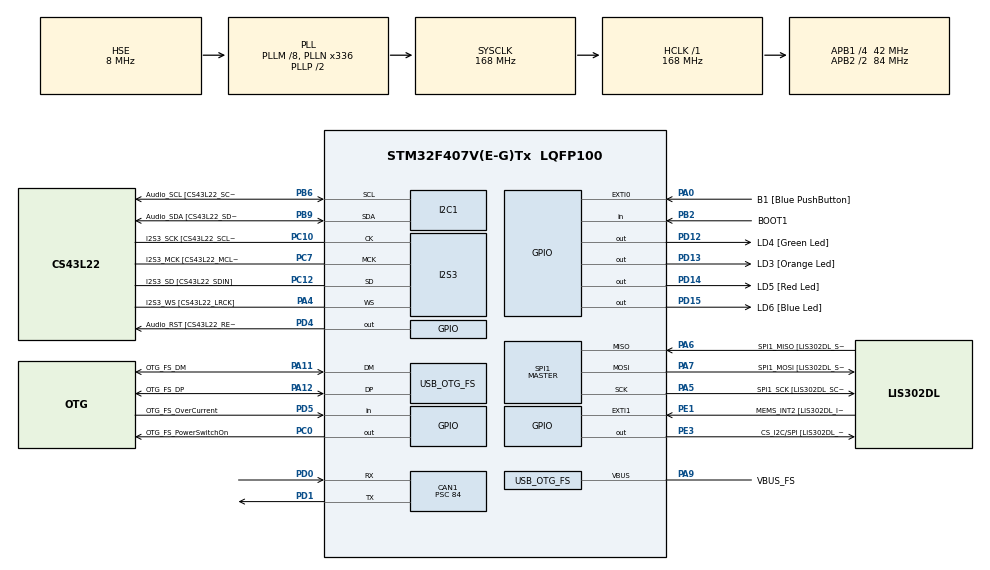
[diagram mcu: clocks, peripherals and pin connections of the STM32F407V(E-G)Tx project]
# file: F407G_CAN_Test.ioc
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CAN1.BS1=CAN_BS1_16TQ
CAN1.BS2=CAN_BS2_8TQ
CAN1.CalculateBaudRate=20000
CAN1.CalculateTimeBit=50000.00
CAN1.CalculateTimeQuantum=2000.0
CAN1.Mode=CAN_MODE_NORMAL
CAN1.Prescaler=84
I2S3.AudioFreq-Half_Duplex_Master=I2S_AUDIOFREQ_96K
I2S3.ErrorAudioFreq=-2.34 %
I2S3.ErrorAudioFreq-Half_Duplex_Master=0.8 %
I2S3.FullDuplexMode=I2S_FULLDUPLEXMODE_DISABLE
I2S3.Instance=SPI$Index
I2S3.RealAudioFreq=93.75 KHz
I2S3.RealAudioFreq-Half_Duplex_Master=96.774 KHz
I2S3.VirtualMode=I2S_MODE_MASTER
Mcu.Family=STM32F4
Mcu.Name=STM32F407V(E-G)Tx
Mcu.Package=LQFP100
NVIC.CAN1_RX0_IRQn=true\:0\:0\:false\:false\:true\:true\:true
NVIC.OTG_FS_IRQn=true\:0\:0\:false\:false\:true\:true\:true
NVIC.PriorityGroup=NVIC_PRIORITYGROUP_0
PA0-WKUP.GPIO_Label=B1 [Blue PushButton]
PA0-WKUP.GPIO_ModeDefaultEXTI=GPIO_MODE_EVT_RISING
PA0-WKUP.GPIO_PuPd=GPIO_NOPULL
PA0-WKUP.Signal=GPXTI0
PA10.GPIO_Label=OTG_FS_ID
PA10.GPIO_Mode=GPIO_MODE_AF_PP
PA10.GPIO_PuPd=GPIO_NOPULL
PA10.GPIO_Speed=GPIO_SPEED_FREQ_LOW
PA10.Signal=USB_OTG_FS_ID
PA11.GPIO_Label=OTG_FS_DM
PA11.GPIO_Mode=GPIO_MODE_AF_PP
PA11.GPIO_PuPd=GPIO_NOPULL
PA11.GPIO_Speed=GPIO_SPEED_FREQ_LOW
PA11.Mode=Host_Only
PA11.Signal=USB_OTG_FS_DM
PA12.GPIO_Label=OTG_FS_DP
PA12.GPIO_Mode=GPIO_MODE_AF_PP
PA12.GPIO_PuPd=GPIO_NOPULL
PA12.GPIO_Speed=GPIO_SPEED_FREQ_LOW
PA12.Mode=Host_Only
PA12.Signal=USB_OTG_FS_DP
PA13.GPIO_Label=SWDIO
PA13.Mode=Serial_Wire
PA13.Signal=SYS_JTMS-SWDIO
PA14.GPIO_Label=SWCLK
PA14.Mode=Serial_Wire
PA14.Signal=SYS_JTCK-SWCLK
PA4.GPIO_Label=I2S3_WS [CS43L22_LRCK]
PA4.GPIO_Mode=GPIO_MODE_AF_PP
PA4.GPIO_PuPd=GPIO_NOPULL
PA4.GPIO_Speed=GPIO_SPEED_FREQ_LOW
PA4.Mode=Half_Duplex_Master
PA4.Signal=I2S3_WS
PA5.GPIO_Label=SPI1_SCK [LIS302DL_SCL/SPC]
PA5.GPIO_Mode=GPIO_MODE_AF_PP
PA5.GPIO_PuPd=GPIO_NOPULL
PA5.GPIO_Speed=GPIO_SPEED_FREQ_LOW
PA5.Mode=Full_Duplex_Master
PA5.Signal=SPI1_SCK
PA6.GPIO_Label=SPI1_MISO [LIS302DL_SDO]
PA6.GPIO_Mode=GPIO_MODE_AF_PP
PA6.GPIO_PuPd=GPIO_NOPULL
PA6.GPIO_Speed=GPIO_SPEED_FREQ_LOW
PA6.Mode=Full_Duplex_Master
PA6.Signal=SPI1_MISO
PA7.GPIO_Label=SPI1_MOSI [LIS302DL_SDA/SDI/SDO]
PA7.GPIO_Mode=GPIO_MODE_AF_PP
PA7.GPIO_PuPd=GPIO_NOPULL
PA7.GPIO_Speed=GPIO_SPEED_FREQ_LOW
PA7.Mode=Full_Duplex_Master
PA7.Signal=SPI1_MOSI
PA9.GPIO_Label=VBUS_FS
PA9.GPIO_Mode=GPIO_MODE_INPUT
PA9.GPIO_PuPd=GPIO_NOPULL
PA9.Mode=Activate_VBUS
PA9.Signal=USB_OTG_FS_VBUS
PB10.GPIO_Label=CLK_IN [MP45DT02_CLK]
PB10.GPIO_Mode=GPIO_MODE_AF_PP
PB10.GPIO_PuPd=GPIO_NOPULL
PB10.GPIO_Speed=GPIO_SPEED_FREQ_LOW
PB10.Signal=I2S2_CK
PB2.GPIO_Label=BOOT1
PB2.GPIO_Mode=GPIO_MODE_INPUT
PB2.GPIO_PuPd=GPIO_NOPULL
PB2.Signal=GPIO_Input
PB3.GPIO_Label=SWO
PB3.Signal=SYS_JTDO-SWO
PB6.GPIO_Label=Audio_SCL [CS43L22_SCL]
PB6.GPIO_Mode=GPIO_MODE_AF_OD
PB6.GPIO_Pu=GPIO_PULLUP
PB6.GPIO_PuPd=GPIO_NOPULL
PB6.GPIO_Speed=GPIO_SPEED_FREQ_LOW
PB6.Mode=I2C
PB6.Signal=I2C1_SCL
PB9.GPIO_Label=Audio_SDA [CS43L22_SDA]
PB9.GPIO_Mode=GPIO_MODE_AF_OD
PB9.GPIO_Pu=GPIO_PULLUP
PB9.GPIO_PuPd=GPIO_NOPULL
PB9.GPIO_Speed=GPIO_SPEED_FREQ_LOW
PB9.Mode=I2C
PB9.Signal=I2C1_SDA
PC0.GPIO_Label=OTG_FS_PowerSwitchOn
PC0.GPIO_PuPd=GPIO_NOPULL
PC0.GPIO_Speed=GPIO_SPEED_FREQ_LOW
PC0.PinState=GPIO_PIN_SET
PC0.Signal=GPIO_Output
PC10.GPIO_Label=I2S3_SCK [CS43L22_SCLK]
PC10.GPIO_Mode=GPIO_MODE_AF_PP
PC10.GPIO_PuPd=GPIO_NOPULL
PC10.GPIO_Speed=GPIO_SPEED_FREQ_LOW
PC10.Mode=Half_Duplex_Master
PC10.Signal=I2S3_CK
PC12.GPIO_Label=I2S3_SD [CS43L22_SDIN]
PC12.GPIO_Mode=GPIO_MODE_AF_PP
PC12.GPIO_PuPd=GPIO_NOPULL
PC12.GPIO_Speed=GPIO_SPEED_FREQ_LOW
PC12.Mode=Half_Duplex_Master
PC12.Signal=I2S3_SD
PC14-OSC32_IN.GPIO_Label=PC14-OSC32_IN
PC14-OSC32_IN.Mode=LSE-External-Oscillator
PC14-OSC32_IN.Signal=RCC_OSC32_IN
PC15-OSC32_OUT.GPIO_Label=PC15-OSC32_OUT
PC15-OSC32_OUT.Mode=LSE-External-Oscillator
PC15-OSC32_OUT.Signal=RCC_OSC32_OUT
PC3.GPIO_Label=PDM_OUT [MP45DT02_DOUT]
PC3.GPIO_Mode=GPIO_MODE_AF_PP
PC3.GPIO_PuPd=GPIO_NOPULL
PC3.GPIO_Speed=GPIO_SPEED_FREQ_LOW
PC3.Signal=I2S2_SD
PC7.GPIO_Label=I2S3_MCK [CS43L22_MCLK]
PC7.GPIO_Mode=GPIO_MODE_AF_PP
PC7.GPIO_PuPd=GPIO_NOPULL
PC7.GPIO_Speed=GPIO_SPEED_FREQ_LOW
PC7.Mode=Master_Clock_Activated
PC7.Signal=I2S3_MCK
PD0.Mode=CAN_Activate
PD0.Signal=CAN1_RX
PD1.Mode=CAN_Activate
PD1.Signal=CAN1_TX
PD12.GPIO_Label=LD4 [Green Led]
PD12.GPIO_PuPd=GPIO_NOPULL
PD12.GPIO_Speed=GPIO_SPEED_FREQ_LOW
PD12.Signal=GPIO_Output
PD13.GPIO_Label=LD3 [Orange Led]
PD13.GPIO_PuPd=GPIO_NOPULL
PD13.GPIO_Speed=GPIO_SPEED_FREQ_LOW
PD13.Signal=GPIO_Output
PD14.GPIO_Label=LD5 [Red Led]
PD14.GPIO_PuPd=GPIO_NOPULL
PD14.GPIO_Speed=GPIO_SPEED_FREQ_LOW
PD14.Signal=GPIO_Output
PD15.GPIO_Label=LD6 [Blue Led]
PD15.GPIO_PuPd=GPIO_NOPULL
PD15.GPIO_Speed=GPIO_SPEED_FREQ_LOW
PD15.Signal=GPIO_Output
PD4.GPIO_Label=Audio_RST [CS43L22_RESET]
PD4.GPIO_PuPd=GPIO_NOPULL
PD4.GPIO_Speed=GPIO_SPEED_FREQ_LOW
PD4.Signal=GPIO_Output
PD5.GPIO_Label=OTG_FS_OverCurrent
PD5.GPIO_Mode=GPIO_MODE_INPUT
PD5.GPIO_PuPd=GPIO_NOPULL
PD5.Signal=GPIO_Input
PE1.GPIO_Label=MEMS_INT2 [LIS302DL_INT2]
PE1.GPIO_ModeDefaultEXTI=GPIO_MODE_EVT_RISING
PE1.GPIO_PuPd=GPIO_NOPULL
PE1.Signal=GPXTI1
PE3.GPIO_Label=CS_I2C/SPI [LIS302DL_CS_I2C/SPI]
PE3.GPIO_PuPd=GPIO_NOPULL
PE3.GPIO_Speed=GPIO_SPEED_FREQ_LOW
PE3.Signal=GPIO_Output
PH0-OSC_IN.GPIO_Label=PH0-OSC_IN
PH0-OSC_IN.Mode=HSE-External-Oscillator
PH0-OSC_IN.Signal=RCC_OSC_IN
PH1-OSC_OUT.GPIO_Label=PH1-OSC_OUT
PH1-OSC_OUT.Mode=HSE-External-Oscillator
PH1-OSC_OUT.Signal=RCC_OSC_OUT
ProjectManager.HeapSize=0x200
ProjectManager.StackSize=0x400
ProjectManager.TargetToolchain=STM32CubeIDE
RCC.48MHZClocksFreq_Value=48000000
RCC.AHBFreq_Value=168000000
RCC.APB1CLKDivider=RCC_HCLK_DIV4
RCC.APB1Freq_Value=42000000
RCC.APB1TimFreq_Value=84000000
RCC.APB2CLKDivider=RCC_HCLK_DIV2
RCC.APB2Freq_Value=84000000
RCC.APB2TimFreq_Value=168000000
RCC.CortexFreq_Value=168000000
RCC.HCLKFreq_Value=168000000
RCC.HSE_VALUE=8000000
RCC.HSI_VALUE=16000000
RCC.PLLM=8
RCC.PLLN=336
RCC.PLLQ=7
RCC.SYSCLKFreq_VALUE=168000000
RCC.SYSCLKSource=RCC_SYSCLKSOURCE_PLLCLK
RCC.VCOOutputFreq_Value=336000000
SPI1.BaudRatePrescaler-Full_Duplex_Master=SPI_BAUDRATEPRESCALER_2
SPI1.CalculateBaudRate-Full_Duplex_Master=42.0 MBits/s
SPI1.Direction=SPI_DIRECTION_2LINES
SPI1.Mode=SPI_MODE_MASTER
SPI1.Mode-Full_Duplex_Master=SPI_MODE_MASTER
SPI1.VirtualType=VM_MASTER
USB_HOST.BSP.number=1
USB_HOST.USBH_HandleTypeDef-CDC_FS=hUsbHostFS
USB_HOST.VirtualModeFS=Cdc
USB_HOST0.BSP.STBoard=false
USB_HOST0.BSP.api=Unknown
USB_HOST0.BSP.i2caddr=0
USB_HOST0.BSP.i2creg=0
USB_HOST0.BSP.instance=PC0
USB_HOST0.BSP.ip=GPIO
USB_HOST0.BSP.mode=Output
USB_HOST0.BSP.name=Drive_VBUS_FS
USB_HOST0.BSP.solution=PC0
USB_OTG_FS.VirtualMode=Host_Only
USB_OTG_FS.phy_itface=HCD_PHY_EMBEDDED
VP_USB_HOST_VS_USB_HOST_CDC_FS.Mode=CDC_FS
board=STM32F407G-DISC1

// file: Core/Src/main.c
/* USER CODE BEGIN Header */
/**
  ******************************************************************************
  * @file           : main.c
  * @brief          : Main program body
  ******************************************************************************
  * @attention
  *
  * <h2><center>&copy; Copyright (c) 2022 STMicroelectronics.
  * All rights reserved.</center></h2>
  *
  * This software component is licensed by ST under Ultimate Liberty license
  * SLA0044, the "License"; You may not use this file except in compliance with
  * the License. You may obtain a copy of the License at:
  *                             www.st.com/SLA0044
  *
  ******************************************************************************
  */
/* USER CODE END Header */
#include "main.h"
#include "usb_host.h"
#include <stdio.h>
#include <string.h>

CAN_HandleTypeDef hcan1;

I2C_HandleTypeDef hi2c1;

I2S_HandleTypeDef hi2s3;

SPI_HandleTypeDef hspi1;

void SystemClock_Config(void);
static void MX_GPIO_Init(void);
static void MX_I2C1_Init(void);
static void MX_I2S3_Init(void);
static void MX_SPI1_Init(void);
static void MX_CAN1_Init(void);
void MX_USB_HOST_Process(void);

/* USER CODE BEGIN 0 */
CAN_TxHeaderTypeDef TxHeader; //tx header
CAN_RxHeaderTypeDef RxHeader; //rx header

uint32_t canMailbox; //mailbox holder

uint8_t TxData[8];  //tx bufer
uint8_t RxData[8];  //rx buffer
uint8_t dataBuffer[10][8]; //data buffer
uint8_t faultBuffer[10][8];

uint8_t count = 0;
uint8_t faultBufferCount = 0;
uint8_t dataSize = 8;

void HAL_CAN_RxFifo0MsgPendingCallback(CAN_HandleTypeDef *hcan)
{
	HAL_CAN_GetRxMessage(hcan, CAN_RX_FIFO0, &RxHeader, RxData);

	if(count == 10)
	{
		count = 0;
	}
	if(faultBufferCount == 10)
	{
		faultBufferCount = 0;
	}
	if(RxHeader.StdId >= 0x105)
	{
		memcpy(dataBuffer[count], &RxData, dataSize);
		count++;
	}
	else
	{
		memcpy(faultBuffer[faultBufferCount], &RxData, dataSize);
		faultBufferCount++;
	}

	//printf("%s\n", RxData);
}

int _write(int32_t file, uint8_t *ptr, int32_t len)
{
	int i=0;
	for(i=0 ; i<len ; i++)
	ITM_SendChar((*ptr++));
	return len;
}

/* USER CODE END 0 */

int main(void)
{

  /* MCU Configuration--------------------------------------------------------*/

  /* Reset of all peripherals, Initializes the Flash interface and the Systick. */
  HAL_Init();

  /* Configure the system clock */
  SystemClock_Config();

  /* Initialize all configured peripherals */
  MX_GPIO_Init();
  MX_I2C1_Init();
  MX_I2S3_Init();
  MX_SPI1_Init();
  MX_USB_HOST_Init();
  MX_CAN1_Init();
  /* USER CODE BEGIN 2 */
  HAL_CAN_Start(&hcan1);
  //inilitlize callback function
  HAL_CAN_ActivateNotification(&hcan1, CAN_IT_RX_FIFO0_MSG_PENDING);

  TxHeader.DLC = 8; //message size of two bytes
  TxHeader.ExtId = 0;
  TxHeader.IDE = CAN_ID_STD; //use standard ID formats
  TxHeader.RTR = CAN_RTR_DATA; //data type for transmit frame
  TxHeader.StdId = 0x113; //ID of the transmitter
  TxHeader.TransmitGlobalTime = DISABLE;

  TxData[0] = 0xf3;
  TxData[1] = 69;
  TxData[2] = 420;
  TxData[3] = 'c';
  TxData[4] = 'y';
  TxData[5] = 'a';
  TxData[6] = 'k';
  TxData[7] = '\n';

  int printCount = 0;
  int faultPrintCount = 0;
//  HAL_CAN_AddTxMessage(&hcan1, &TxHeader, TxData, &canMailbox);
  /* USER CODE END 2 */

  /* Infinite loop */
  /* USER CODE BEGIN WHILE */
  while (1)
  {
//	  HAL_CAN_AddTxMessage(&hcan1, &TxHeader, TxData, &canMailbox);
//	  HAL_Delay(2000);
	if(printCount == 10)
	{
		printCount = 0;
	}
	if(faultPrintCount == 10)
	{
		faultPrintCount = 0;
	}
	if(printCount != count)
	{
		printf("%s\n", dataBuffer[printCount]);
		printCount++;
	}
	if(faultPrintCount != faultBufferCount)
	{
		printf("Fault on fuse: %hu\n", faultBuffer[0]);
		faultPrintCount++;
	}
    /* USER CODE END WHILE */
    MX_USB_HOST_Process();

  }
}

void SystemClock_Config(void)
{
  RCC_OscInitTypeDef RCC_OscInitStruct = {0};
  RCC_ClkInitTypeDef RCC_ClkInitStruct = {0};

  /** Configure the main internal regulator output voltage
  */
  __HAL_RCC_PWR_CLK_ENABLE();
  __HAL_PWR_VOLTAGESCALING_CONFIG(PWR_REGULATOR_VOLTAGE_SCALE1);
  /** Initializes the RCC Oscillators according to the specified parameters
  * in the RCC_OscInitTypeDef structure.
  */
  RCC_OscInitStruct.OscillatorType = RCC_OSCILLATORTYPE_HSE;
  RCC_OscInitStruct.HSEState = RCC_HSE_ON;
  RCC_OscInitStruct.PLL.PLLState = RCC_PLL_ON;
  RCC_OscInitStruct.PLL.PLLSource = RCC_PLLSOURCE_HSE;
  RCC_OscInitStruct.PLL.PLLM = 8;
  RCC_OscInitStruct.PLL.PLLN = 336;
  RCC_OscInitStruct.PLL.PLLP = RCC_PLLP_DIV2;
  RCC_OscInitStruct.PLL.PLLQ = 7;
  if (HAL_RCC_OscConfig(&RCC_OscInitStruct) != HAL_OK)
  {
    Error_Handler();
  }
  /** Initializes the CPU, AHB and APB buses clocks
  */
  RCC_ClkInitStruct.ClockType = RCC_CLOCKTYPE_HCLK|RCC_CLOCKTYPE_SYSCLK
                              |RCC_CLOCKTYPE_PCLK1|RCC_CLOCKTYPE_PCLK2;
  RCC_ClkInitStruct.SYSCLKSource = RCC_SYSCLKSOURCE_PLLCLK;
  RCC_ClkInitStruct.AHBCLKDivider = RCC_SYSCLK_DIV1;
  RCC_ClkInitStruct.APB1CLKDivider = RCC_HCLK_DIV4;
  RCC_ClkInitStruct.APB2CLKDivider = RCC_HCLK_DIV2;

  if (HAL_RCC_ClockConfig(&RCC_ClkInitStruct, FLASH_LATENCY_5) != HAL_OK)
  {
    Error_Handler();
  }
}

static void MX_CAN1_Init(void)
{

  hcan1.Instance = CAN1;
  hcan1.Init.Prescaler = 84;
  hcan1.Init.Mode = CAN_MODE_NORMAL;
  hcan1.Init.SyncJumpWidth = CAN_SJW_1TQ;
  hcan1.Init.TimeSeg1 = CAN_BS1_16TQ;
  hcan1.Init.TimeSeg2 = CAN_BS2_8TQ;
  hcan1.Init.TimeTriggeredMode = DISABLE;
  hcan1.Init.AutoBusOff = DISABLE;
  hcan1.Init.AutoWakeUp = DISABLE;
  hcan1.Init.AutoRetransmission = DISABLE;
  hcan1.Init.ReceiveFifoLocked = DISABLE;
  hcan1.Init.TransmitFifoPriority = DISABLE;
  if (HAL_CAN_Init(&hcan1) != HAL_OK)
  {
    Error_Handler();
  }
  /* USER CODE BEGIN CAN1_Init 2 */
  CAN_FilterTypeDef canFilterConfig;  //can filter config
  canFilterConfig.FilterActivation = CAN_FILTER_ENABLE;
  canFilterConfig.FilterBank = 10;
  canFilterConfig.FilterFIFOAssignment = CAN_FILTER_FIFO0;
  canFilterConfig.FilterIdHigh = 0;
  canFilterConfig.FilterIdLow = 0x00000;
  canFilterConfig.FilterMaskIdHigh = 0;
  canFilterConfig.FilterMaskIdLow = 0x0000;
  canFilterConfig.FilterMode = CAN_FILTERMODE_IDMASK;
  canFilterConfig.FilterScale = CAN_FILTERSCALE_32BIT;
  canFilterConfig.SlaveStartFilterBank = 0;
  //Configuring CAN filter for CAN1
  HAL_CAN_ConfigFilter(&hcan1, &canFilterConfig);
  /* USER CODE END CAN1_Init 2 */

}

static void MX_I2C1_Init(void)
{

  hi2c1.Instance = I2C1;
  hi2c1.Init.ClockSpeed = 100000;
  hi2c1.Init.DutyCycle = I2C_DUTYCYCLE_2;
  hi2c1.Init.OwnAddress1 = 0;
  hi2c1.Init.AddressingMode = I2C_ADDRESSINGMODE_7BIT;
  hi2c1.Init.DualAddressMode = I2C_DUALADDRESS_DISABLE;
  hi2c1.Init.OwnAddress2 = 0;
  hi2c1.Init.GeneralCallMode = I2C_GENERALCALL_DISABLE;
  hi2c1.Init.NoStretchMode = I2C_NOSTRETCH_DISABLE;
  if (HAL_I2C_Init(&hi2c1) != HAL_OK)
  {
    Error_Handler();
  }

}

static void MX_I2S3_Init(void)
{

  hi2s3.Instance = SPI3;
  hi2s3.Init.Mode = I2S_MODE_MASTER_TX;
  hi2s3.Init.Standard = I2S_STANDARD_PHILIPS;
  hi2s3.Init.DataFormat = I2S_DATAFORMAT_16B;
  hi2s3.Init.MCLKOutput = I2S_MCLKOUTPUT_ENABLE;
  hi2s3.Init.AudioFreq = I2S_AUDIOFREQ_96K;
  hi2s3.Init.CPOL = I2S_CPOL_LOW;
  hi2s3.Init.ClockSource = I2S_CLOCK_PLL;
  hi2s3.Init.FullDuplexMode = I2S_FULLDUPLEXMODE_DISABLE;
  if (HAL_I2S_Init(&hi2s3) != HAL_OK)
  {
    Error_Handler();
  }

}

static void MX_SPI1_Init(void)
{

  /* SPI1 parameter configuration*/
  hspi1.Instance = SPI1;
  hspi1.Init.Mode = SPI_MODE_MASTER;
  hspi1.Init.Direction = SPI_DIRECTION_2LINES;
  hspi1.Init.DataSize = SPI_DATASIZE_8BIT;
  hspi1.Init.CLKPolarity = SPI_POLARITY_LOW;
  hspi1.Init.CLKPhase = SPI_PHASE_1EDGE;
  hspi1.Init.NSS = SPI_NSS_SOFT;
  hspi1.Init.BaudRatePrescaler = SPI_BAUDRATEPRESCALER_2;
  hspi1.Init.FirstBit = SPI_FIRSTBIT_MSB;
  hspi1.Init.TIMode = SPI_TIMODE_DISABLE;
  hspi1.Init.CRCCalculation = SPI_CRCCALCULATION_DISABLE;
  hspi1.Init.CRCPolynomial = 10;
  if (HAL_SPI_Init(&hspi1) != HAL_OK)
  {
    Error_Handler();
  }

}

static void MX_GPIO_Init(void)
{
  GPIO_InitTypeDef GPIO_InitStruct = {0};

  /* GPIO Ports Clock Enable */
  __HAL_RCC_GPIOE_CLK_ENABLE();
  __HAL_RCC_GPIOC_CLK_ENABLE();
  __HAL_RCC_GPIOH_CLK_ENABLE();
  __HAL_RCC_GPIOA_CLK_ENABLE();
  __HAL_RCC_GPIOB_CLK_ENABLE();
  __HAL_RCC_GPIOD_CLK_ENABLE();

  /*Configure GPIO pin Output Level */
  HAL_GPIO_WritePin(CS_I2C_SPI_GPIO_Port, CS_I2C_SPI_Pin, GPIO_PIN_RESET);

  /*Configure GPIO pin Output Level */
  HAL_GPIO_WritePin(OTG_FS_PowerSwitchOn_GPIO_Port, OTG_FS_PowerSwitchOn_Pin, GPIO_PIN_SET);

  /*Configure GPIO pin Output Level */
  HAL_GPIO_WritePin(GPIOD, LD4_Pin|LD3_Pin|LD5_Pin|LD6_Pin
                          |Audio_RST_Pin, GPIO_PIN_RESET);

  /*Configure GPIO pin : CS_I2C_SPI_Pin */
  GPIO_InitStruct.Pin = CS_I2C_SPI_Pin;
  GPIO_InitStruct.Mode = GPIO_MODE_OUTPUT_PP;
  GPIO_InitStruct.Pull = GPIO_NOPULL;
  GPIO_InitStruct.Speed = GPIO_SPEED_FREQ_LOW;
  HAL_GPIO_Init(CS_I2C_SPI_GPIO_Port, &GPIO_InitStruct);

  /*Configure GPIO pin : OTG_FS_PowerSwitchOn_Pin */
  GPIO_InitStruct.Pin = OTG_FS_PowerSwitchOn_Pin;
  GPIO_InitStruct.Mode = GPIO_MODE_OUTPUT_PP;
  GPIO_InitStruct.Pull = GPIO_NOPULL;
  GPIO_InitStruct.Speed = GPIO_SPEED_FREQ_LOW;
  HAL_GPIO_Init(OTG_FS_PowerSwitchOn_GPIO_Port, &GPIO_InitStruct);

  /*Configure GPIO pin : PDM_OUT_Pin */
  GPIO_InitStruct.Pin = PDM_OUT_Pin;
  GPIO_InitStruct.Mode = GPIO_MODE_AF_PP;
  GPIO_InitStruct.Pull = GPIO_NOPULL;
  GPIO_InitStruct.Speed = GPIO_SPEED_FREQ_LOW;
  GPIO_InitStruct.Alternate = GPIO_AF5_SPI2;
  HAL_GPIO_Init(PDM_OUT_GPIO_Port, &GPIO_InitStruct);

  /*Configure GPIO pin : B1_Pin */
  GPIO_InitStruct.Pin = B1_Pin;
  GPIO_InitStruct.Mode = GPIO_MODE_EVT_RISING;
  GPIO_InitStruct.Pull = GPIO_NOPULL;
  HAL_GPIO_Init(B1_GPIO_Port, &GPIO_InitStruct);

  /*Configure GPIO pin : BOOT1_Pin */
  GPIO_InitStruct.Pin = BOOT1_Pin;
  GPIO_InitStruct.Mode = GPIO_MODE_INPUT;
  GPIO_InitStruct.Pull = GPIO_NOPULL;
  HAL_GPIO_Init(BOOT1_GPIO_Port, &GPIO_InitStruct);

  /*Configure GPIO pin : CLK_IN_Pin */
  GPIO_InitStruct.Pin = CLK_IN_Pin;
  GPIO_InitStruct.Mode = GPIO_MODE_AF_PP;
  GPIO_InitStruct.Pull = GPIO_NOPULL;
  GPIO_InitStruct.Speed = GPIO_SPEED_FREQ_LOW;
  GPIO_InitStruct.Alternate = GPIO_AF5_SPI2;
  HAL_GPIO_Init(CLK_IN_GPIO_Port, &GPIO_InitStruct);

  /*Configure GPIO pins : LD4_Pin LD3_Pin LD5_Pin LD6_Pin
                           Audio_RST_Pin */
  GPIO_InitStruct.Pin = LD4_Pin|LD3_Pin|LD5_Pin|LD6_Pin
                          |Audio_RST_Pin;
  GPIO_InitStruct.Mode = GPIO_MODE_OUTPUT_PP;
  GPIO_InitStruct.Pull = GPIO_NOPULL;
  GPIO_InitStruct.Speed = GPIO_SPEED_FREQ_LOW;
  HAL_GPIO_Init(GPIOD, &GPIO_InitStruct);

  /*Configure GPIO pin : OTG_FS_OverCurrent_Pin */
  GPIO_InitStruct.Pin = OTG_FS_OverCurrent_Pin;
  GPIO_InitStruct.Mode = GPIO_MODE_INPUT;
  GPIO_InitStruct.Pull = GPIO_NOPULL;
  HAL_GPIO_Init(OTG_FS_OverCurrent_GPIO_Port, &GPIO_InitStruct);

  /*Configure GPIO pin : MEMS_INT2_Pin */
  GPIO_InitStruct.Pin = MEMS_INT2_Pin;
  GPIO_InitStruct.Mode = GPIO_MODE_EVT_RISING;
  GPIO_InitStruct.Pull = GPIO_NOPULL;
  HAL_GPIO_Init(MEMS_INT2_GPIO_Port, &GPIO_InitStruct);

}

void Error_Handler(void)
{
  __disable_irq();
  while (1)
  {
  }
}

/************************ (C) COPYRIGHT STMicroelectronics *****END OF FILE****/
